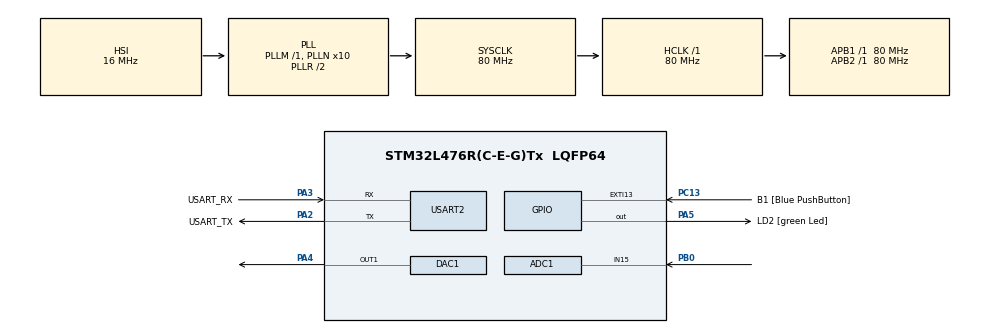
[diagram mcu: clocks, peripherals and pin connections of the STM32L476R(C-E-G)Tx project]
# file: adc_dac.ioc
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ADC1.Channel-1\#ChannelRegularConversion=ADC_CHANNEL_15
ADC1.NbrOfConversionFlag=1
ADC1.OffsetNumber-1\#ChannelRegularConversion=ADC_OFFSET_NONE
ADC1.Rank-1\#ChannelRegularConversion=1
ADC1.SamplingTime-1\#ChannelRegularConversion=ADC_SAMPLETIME_92CYCLES_5
ADC1.master=1
Mcu.Family=STM32L4
Mcu.Name=STM32L476R(C-E-G)Tx
Mcu.Package=LQFP64
NVIC.ADC1_2_IRQn=true\:0\:0\:false\:false\:true\:true\:true
NVIC.PriorityGroup=NVIC_PRIORITYGROUP_4
PA13\ (JTMS-SWDIO).GPIO_Label=TMS
PA13\ (JTMS-SWDIO).Mode=Serial_Wire
PA13\ (JTMS-SWDIO).Signal=SYS_JTMS-SWDIO
PA14\ (JTCK-SWCLK).GPIO_Label=TCK
PA14\ (JTCK-SWCLK).Mode=Serial_Wire
PA14\ (JTCK-SWCLK).Signal=SYS_JTCK-SWCLK
PA2.GPIO_Label=USART_TX
PA2.GPIO_Mode=GPIO_MODE_AF_PP
PA2.GPIO_PuPd=GPIO_NOPULL
PA2.GPIO_Speed=GPIO_SPEED_FREQ_VERY_HIGH
PA2.Mode=Asynchronous
PA2.Signal=USART2_TX
PA3.GPIO_Label=USART_RX
PA3.GPIO_Mode=GPIO_MODE_AF_PP
PA3.GPIO_PuPd=GPIO_NOPULL
PA3.GPIO_Speed=GPIO_SPEED_FREQ_VERY_HIGH
PA3.Mode=Asynchronous
PA3.Signal=USART2_RX
PA4.Signal=COMP_DAC11_group
PA5.GPIO_Label=LD2 [green Led]
PA5.GPIO_ModeDefaultOutputPP=GPIO_MODE_OUTPUT_PP
PA5.GPIO_PuPd=GPIO_NOPULL
PA5.GPIO_Speed=GPIO_SPEED_FREQ_LOW
PA5.Signal=GPIO_Output
PB0.Signal=ADCx_IN15
PB3\ (JTDO-TRACESWO).GPIO_Label=SWO
PB3\ (JTDO-TRACESWO).Signal=SYS_JTDO-SWO
PC13.GPIO_Label=B1 [Blue PushButton]
PC13.GPIO_ModeDefaultEXTI=GPIO_MODE_IT_FALLING
PC13.GPIO_PuPd=GPIO_NOPULL
PC13.Signal=GPXTI13
PC14-OSC32_IN\ (PC14).Mode=LSE-External-Oscillator
PC14-OSC32_IN\ (PC14).Signal=RCC_OSC32_IN
PC15-OSC32_OUT\ (PC15).Mode=LSE-External-Oscillator
PC15-OSC32_OUT\ (PC15).Signal=RCC_OSC32_OUT
PH0-OSC_IN\ (PH0).Signal=RCC_OSC_IN
PH1-OSC_OUT\ (PH1).Signal=RCC_OSC_OUT
ProjectManager.HeapSize=0x200
ProjectManager.StackSize=0x400
ProjectManager.TargetToolchain=STM32CubeIDE
RCC.ADCFreq_Value=64000000
RCC.AHBFreq_Value=80000000
RCC.APB1Freq_Value=80000000
RCC.APB1TimFreq_Value=80000000
RCC.APB2Freq_Value=80000000
RCC.APB2TimFreq_Value=80000000
RCC.CortexFreq_Value=80000000
RCC.HCLKFreq_Value=80000000
RCC.HSE_VALUE=8000000
RCC.HSI_VALUE=16000000
RCC.MSI_VALUE=4000000
RCC.PLLN=10
RCC.PLLSourceVirtual=RCC_PLLSOURCE_HSI
RCC.PREFETCH_ENABLE=1
RCC.SYSCLKFreq_VALUE=80000000
RCC.SYSCLKSource=RCC_SYSCLKSOURCE_PLLCLK
RCC.USBFreq_Value=64000000
RCC.VCOOutputFreq_Value=160000000
SH.ADCx_IN15.0=ADC1_IN15,IN15-Single-Ended
SH.COMP_DAC11_group.0=DAC1_OUT1,DAC_OUT1
USART2.VirtualMode-Asynchronous=VM_ASYNC
board=NUCLEO-L476RG

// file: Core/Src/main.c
/* USER CODE BEGIN Header */
/**
  ******************************************************************************
  * @file           : main.c
  * @brief          : !!!!!!! Connect pins PA4 and PB0 !!!!!!
  * 				  Using DAC desired voltages are produced on pin PA4,
  * 				  and ADC measures these voltage using pin PB0.
  * 				  These values are printed with UART, e.g:
  * 				  Set value: 0.00
  * 				  Measured value: 0.00
  * 				  Set value: 0.49
  * 				  Measured value: 0.44
  * 			      Set value: 1.70
  * 				  Measured value: 1.64
  * 				  Set value: 2.50
  * 				  Measured value: 2.44
  * 				  Set value: 3.30
  * 				  Measured value: 3.22
  ******************************************************************************
  * @attention
  *
  * <h2><center>&copy; Copyright (c) 2024 STMicroelectronics.
  * All rights reserved.</center></h2>
  *
  * This software component is licensed by ST under BSD 3-Clause license,
  * the "License"; You may not use this file except in compliance with the
  * License. You may obtain a copy of the License at:
  *                        opensource.org/licenses/BSD-3-Clause
  *
  ******************************************************************************
  */
/* USER CODE END Header */
#include "main.h"
#include "adc.h"
#include "dac.h"
#include "usart.h"
#include "gpio.h"

/* USER CODE BEGIN Includes */
#include <stdio.h>
/* USER CODE END Includes */

/* USER CODE BEGIN PD */
#define ADC_VREF 3.3
#define ADC_RESOLUTION 4096
#define DAC_VREF 3.3
#define DAC_RESOLUTION 255
/* USER CODE END PD */

/* USER CODE BEGIN PV */
uint8_t adc_flag = 0;
uint16_t adc_value;

uint16_t dac_value = 0;
double dac_voltages[] = {0, 0.5, 1.7, 2.5, 3.3};
uint8_t dac_index = 0;
/* USER CODE END PV */

void SystemClock_Config(void);

/* USER CODE BEGIN 0 */
void HAL_ADC_ConvCpltCallback(ADC_HandleTypeDef *hadc){
	if(hadc == &hadc1){
		adc_flag = 1;
		adc_value = HAL_ADC_GetValue(hadc);
	}
}

/**
 * @brief function for printing using UART
 */
int _write(int file, char* ptr, int len){
	HAL_UART_Transmit(&huart2, (uint8_t *)ptr, len, HAL_MAX_DELAY);
	return len;
}

/**
 * @brief convert raw ADC reading to voltage [V]
 */
double conv_ADC_to_voltage(int adc){
	double voltage = adc*ADC_VREF/ADC_RESOLUTION;
	return voltage;
}

/**
 * @brief convert DAC value to voltage [V]
 */
double conv_DAC_to_voltage(int dac){
	double voltage = dac*DAC_VREF/DAC_RESOLUTION;
	return voltage;
}

/**
 * @brief convert voltage to DAC value
 */
int conv_voltage_to_DAC(double voltage){
	int dac = voltage*DAC_RESOLUTION/DAC_VREF;
	return (int) dac;
}
/* USER CODE END 0 */

int main(void)
{

  /* MCU Configuration--------------------------------------------------------*/

  /* Reset of all peripherals, Initializes the Flash interface and the Systick. */
  HAL_Init();

  /* Configure the system clock */
  SystemClock_Config();

  /* Initialize all configured peripherals */
  MX_GPIO_Init();
  MX_USART2_UART_Init();
  MX_ADC1_Init();
  MX_DAC1_Init();
  /* USER CODE BEGIN 2 */
  HAL_ADC_Start_IT(&hadc1);
  HAL_DAC_SetValue(&hdac1, DAC_CHANNEL_1, DAC_ALIGN_8B_R, 0);
  HAL_DAC_Start(&hdac1, DAC_CHANNEL_1);
  /* USER CODE END 2 */

  /* Infinite loop */
  /* USER CODE BEGIN WHILE */
  while (1){
	if (adc_flag == 1){
		printf("Set value: %.2f\r\n", conv_DAC_to_voltage(dac_value));
		printf("Measured value: %.2f\r\n", conv_ADC_to_voltage(adc_value));
		adc_flag = 0;
		dac_value = conv_voltage_to_DAC(dac_voltages[dac_index]);
		HAL_DAC_SetValue(&hdac1, DAC_CHANNEL_1, DAC_ALIGN_8B_R, dac_value);
		++dac_index;
		if(dac_index > 4 )
			dac_index = 0;
		HAL_ADC_Start_IT(&hadc1);
	}
	HAL_Delay(1000);
    /* USER CODE END WHILE */

  }
}

void SystemClock_Config(void)
{
  RCC_OscInitTypeDef RCC_OscInitStruct = {0};
  RCC_ClkInitTypeDef RCC_ClkInitStruct = {0};
  RCC_PeriphCLKInitTypeDef PeriphClkInit = {0};

  /** Initializes the RCC Oscillators according to the specified parameters
  * in the RCC_OscInitTypeDef structure.
  */
  RCC_OscInitStruct.OscillatorType = RCC_OSCILLATORTYPE_HSI;
  RCC_OscInitStruct.HSIState = RCC_HSI_ON;
  RCC_OscInitStruct.HSICalibrationValue = RCC_HSICALIBRATION_DEFAULT;
  RCC_OscInitStruct.PLL.PLLState = RCC_PLL_ON;
  RCC_OscInitStruct.PLL.PLLSource = RCC_PLLSOURCE_HSI;
  RCC_OscInitStruct.PLL.PLLM = 1;
  RCC_OscInitStruct.PLL.PLLN = 10;
  RCC_OscInitStruct.PLL.PLLP = RCC_PLLP_DIV7;
  RCC_OscInitStruct.PLL.PLLQ = RCC_PLLQ_DIV2;
  RCC_OscInitStruct.PLL.PLLR = RCC_PLLR_DIV2;
  if (HAL_RCC_OscConfig(&RCC_OscInitStruct) != HAL_OK)
  {
    Error_Handler();
  }
  /** Initializes the CPU, AHB and APB buses clocks
  */
  RCC_ClkInitStruct.ClockType = RCC_CLOCKTYPE_HCLK|RCC_CLOCKTYPE_SYSCLK
                              |RCC_CLOCKTYPE_PCLK1|RCC_CLOCKTYPE_PCLK2;
  RCC_ClkInitStruct.SYSCLKSource = RCC_SYSCLKSOURCE_PLLCLK;
  RCC_ClkInitStruct.AHBCLKDivider = RCC_SYSCLK_DIV1;
  RCC_ClkInitStruct.APB1CLKDivider = RCC_HCLK_DIV1;
  RCC_ClkInitStruct.APB2CLKDivider = RCC_HCLK_DIV1;

  if (HAL_RCC_ClockConfig(&RCC_ClkInitStruct, FLASH_LATENCY_4) != HAL_OK)
  {
    Error_Handler();
  }
  PeriphClkInit.PeriphClockSelection = RCC_PERIPHCLK_USART2|RCC_PERIPHCLK_ADC;
  PeriphClkInit.Usart2ClockSelection = RCC_USART2CLKSOURCE_PCLK1;
  PeriphClkInit.AdcClockSelection = RCC_ADCCLKSOURCE_PLLSAI1;
  PeriphClkInit.PLLSAI1.PLLSAI1Source = RCC_PLLSOURCE_HSI;
  PeriphClkInit.PLLSAI1.PLLSAI1M = 1;
  PeriphClkInit.PLLSAI1.PLLSAI1N = 8;
  PeriphClkInit.PLLSAI1.PLLSAI1P = RCC_PLLP_DIV7;
  PeriphClkInit.PLLSAI1.PLLSAI1Q = RCC_PLLQ_DIV2;
  PeriphClkInit.PLLSAI1.PLLSAI1R = RCC_PLLR_DIV2;
  PeriphClkInit.PLLSAI1.PLLSAI1ClockOut = RCC_PLLSAI1_ADC1CLK;
  if (HAL_RCCEx_PeriphCLKConfig(&PeriphClkInit) != HAL_OK)
  {
    Error_Handler();
  }
  /** Configure the main internal regulator output voltage
  */
  if (HAL_PWREx_ControlVoltageScaling(PWR_REGULATOR_VOLTAGE_SCALE1) != HAL_OK)
  {
    Error_Handler();
  }
}

void Error_Handler(void)
{
}

/************************ (C) COPYRIGHT STMicroelectronics *****END OF FILE****/
